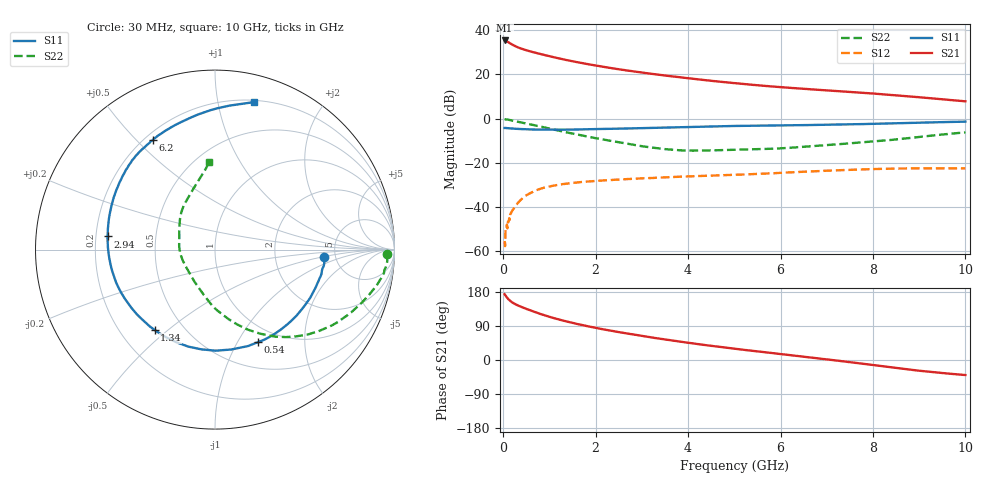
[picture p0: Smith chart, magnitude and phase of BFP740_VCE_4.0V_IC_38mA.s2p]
! Infineon Technologies  Discrete & RF Semiconductors
! BFP740
! VCE =  4.0 V,  IC =  38 mA
! Common Emitter S-Parameters:  Jan 2016
# GHz  S  MA  R  50
!  f  S11  S21  S12  S22
! GHz  MAG  ANG  MAG  ANG  MAG  ANG  MAG  ANG
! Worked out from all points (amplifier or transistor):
!   229 points, 30 MHz to 10 GHz, reference 50 ohm
!   highest |S21| = 35.3 dB at 30 MHz (marker M1)
!   |S21| within 3 dB of that: start of sweep to 303.7 MHz
!   unconditionally stable (mu >= 1): 5.814 GHz to 7.664 GHz
!   at 280 MHz: K = 0.37, MSG = 35.9 dB, |S12| = -39.2 dB
!   at 1.78 GHz: K = 0.54, MSG = 26.7 dB, |S12| = -28.5 dB
!   at 10 GHz: K = 0.98, MSG = 15.1 dB, |S12| = -22.5 dB
!   S11 on the Smith chart (normalised r, x): 30 MHz: 4.06, -0.57; 540 MHz: 0.80, -1.22; 1.34 GHz: 0.35, -0.45; 2.94 GHz: 0.25, +0.06; 6.2 GHz: 0.23, +0.56; 10 GHz: 0.22, +1.28
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0.03  0.611 -4.1  58.22 173.6  0.0017 62.4  0.9587 -1.5
0.07  0.6081 -9.9  56.37 166.5  0.0033 72.8  0.956 -6.0
0.11  0.6038 -15.6  53.3 160.6  0.0045 73.4  0.941 -9.6
0.15  0.599 -20.9  50.14 156.0  0.0067 73.6  0.9194 -12.9
0.2  0.5944 -27.1  46.62 151.5  0.0084 76.5  0.8957 -16.2
0.26  0.5871 -34.4  43.29 147.3  0.0103 72.8  0.8694 -19.9
0.34  0.581 -43.7  39.77 142.8  0.0131 69.0  0.8374 -24.5
0.54  0.5686 -65.1  34 133.1  0.0194 61.4  0.7598 -34.9
0.7  0.5639 -80.8  30.64 125.8  0.0236 56.1  0.6997 -42.6
0.9  0.561 -97.8  27.19 117.7  0.0276 49.8  0.6266 -51.1
1.12  0.5588 -113.7  23.98 109.6  0.0308 44.6  0.5534 -59.2
1.34  0.5597 -127.0  21.33 102.6  0.0334 40.3  0.4935 -66.2
1.7  0.5675 -145.1  17.95 92.4  0.0368 35.1  0.4131 -76.2
2.24  0.5832 -166.1  14.32 79.2  0.0402 30.0  0.3247 -90.5
2.94  0.603 173.0  11.17 64.7  0.044 25.4  0.2423 -109.1
3.4  0.619 161.5  9.672 56.0  0.0463 23.1  0.2093 -124.3
4.3  0.6533 143.2  7.514 40.5  0.0503 18.9  0.1888 -157.6
5.1  0.6806 131.4  6.169 28.4  0.054 15.9  0.1977 179.6
6.2  0.7018 119.7  4.947 13.2  0.0604 12.2  0.2181 156.0
6.8  0.7174 112.8  4.469 4.6  0.0647 8.7  0.241 144.9
8.4  0.7777 91.7  3.414 -19.4  0.0736 -3.1  0.3287 116.6
10  0.8499 75.1  2.447 -39.7  0.0748 -13.5  0.4864 93.9
